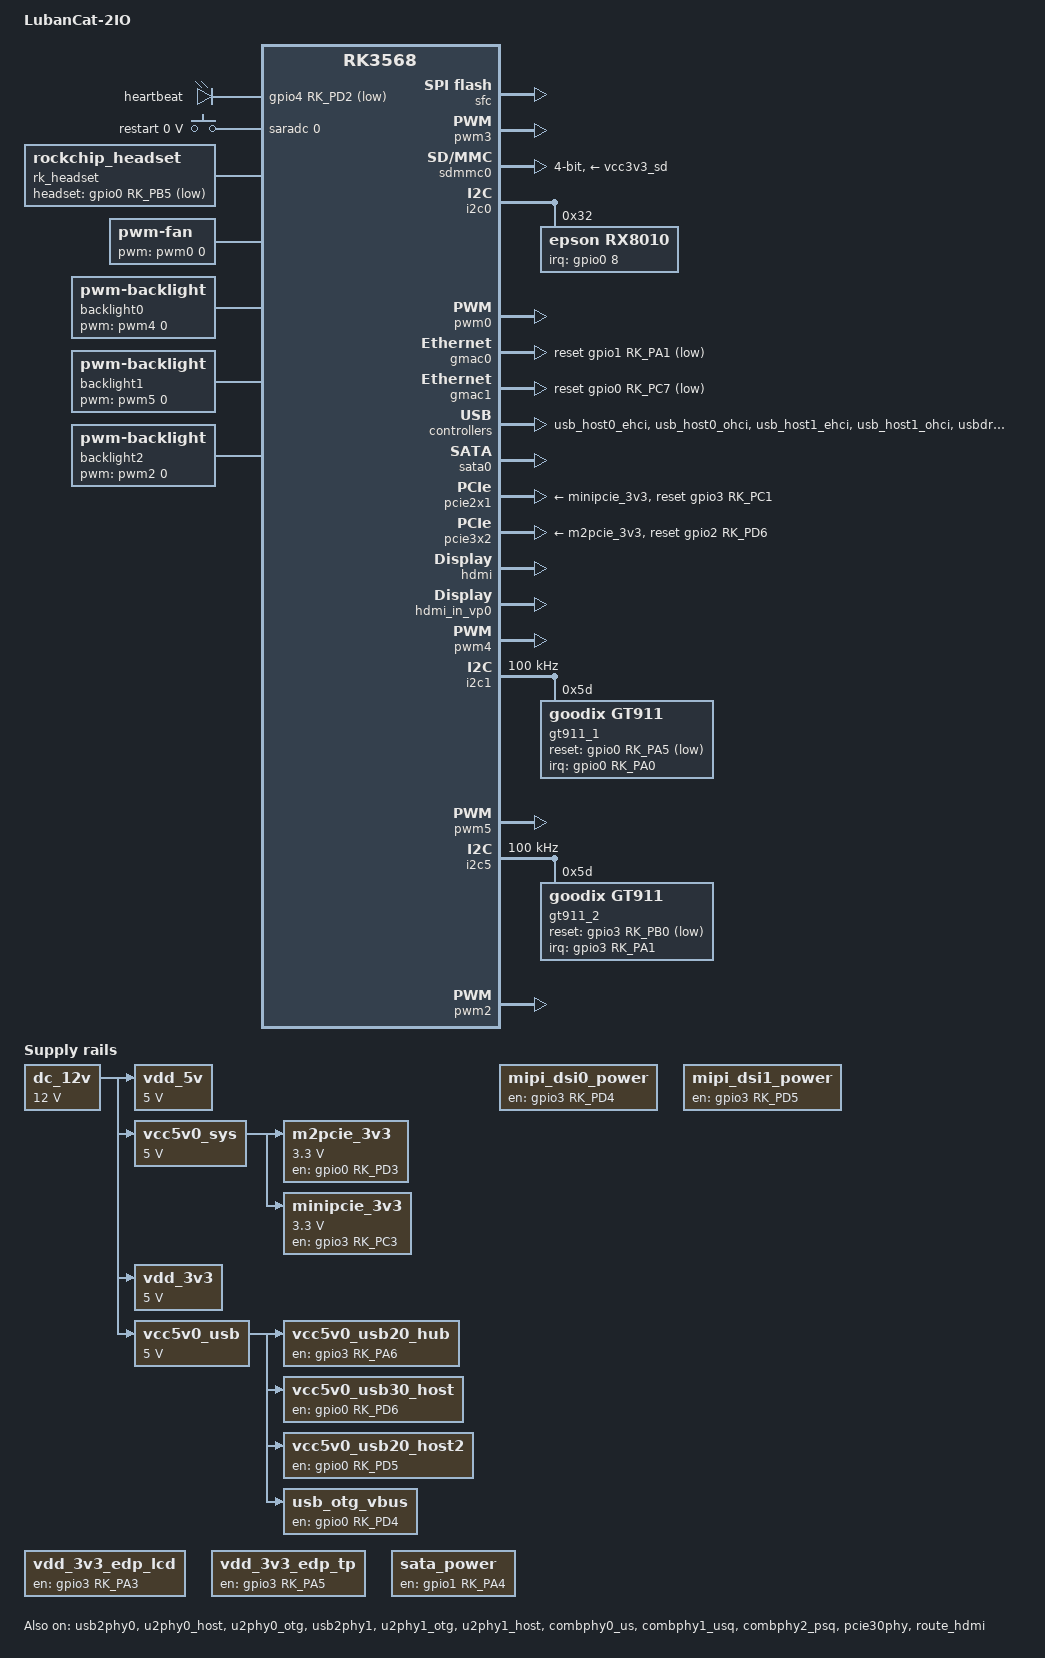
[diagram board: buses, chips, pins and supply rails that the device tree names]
// SPDX-License-Identifier: (GPL-2.0+ OR MIT)
/*
 * Copyright (c) 2020 Rockchip Electronics Co., Ltd.
 * Copyright (c) 2023 EmbedFire Electronic Technology Co., Ltd.
 *
 * LubanCat-2IO development board devicestree
 */

#include "rk3568-lubancat-2m-port.dtsi"
#include "rk3568-lubancat-2io-cam.dtsi"

/ {
	model = "LubanCat-2IO";
	compatible = "rockchip,rk3568-lubancat-2io", "rockchip,rk3568";

	dc_12v: dc-12v {
		compatible = "regulator-fixed";
		regulator-name = "dc_12v";
		regulator-always-on;
		regulator-boot-on;
		regulator-min-microvolt = <12000000>;
		regulator-max-microvolt = <12000000>;
	};

	vdd_5v: vdd-5v {
		compatible = "regulator-fixed";
		regulator-name = "vdd_5v";
		regulator-always-on;
		regulator-boot-on;
		regulator-min-microvolt = <5000000>;
		regulator-max-microvolt = <5000000>;
		vin-supply = <&dc_12v>;
	};

	vcc5v0_sys: vcc5v0-sys {
		compatible = "regulator-fixed";
		regulator-name = "vcc5v0_sys";
		regulator-always-on;
		regulator-boot-on;
		regulator-min-microvolt = <5000000>;
		regulator-max-microvolt = <5000000>;
		vin-supply = <&dc_12v>;
	};

	vdd_3v3: vdd-3v3 {
		compatible = "regulator-fixed";
		regulator-name = "vdd_3v3";
		regulator-always-on;
		regulator-boot-on;
		regulator-min-microvolt = <5000000>;
		regulator-max-microvolt = <5000000>;
		vin-supply = <&dc_12v>;
	};

	vcc5v0_usb: vcc5v0-usb {
		compatible = "regulator-fixed";
		regulator-name = "vcc5v0_usb";
		regulator-always-on;
		regulator-boot-on;
		regulator-min-microvolt = <5000000>;
		regulator-max-microvolt = <5000000>;
		vin-supply = <&dc_12v>;
	};

	mipi_dsi0_power: mipi-dsi0-power-regulator {
		compatible = "regulator-fixed";
		enable-active-high;
		gpio = <&gpio3 RK_PD4 GPIO_ACTIVE_HIGH>;
		pinctrl-names = "default";
		pinctrl-0 = <&mipi_dsi0_pwr_en>;
		regulator-name = "mipi_dsi0_power";
		regulator-always-on;
	};

	mipi_dsi1_power: mipi-dsi1-power-regulator {
		compatible = "regulator-fixed";
		enable-active-high;
		gpio = <&gpio3 RK_PD5 GPIO_ACTIVE_HIGH>;
		pinctrl-names = "default";
		pinctrl-0 = <&mipi_dsi1_pwr_en>;
		regulator-name = "mipi_dsi1_power";
		regulator-always-on;
	};

	vcc5v0_usb20_hub: vcc5v0-usb20-hub-regulator {
		compatible = "regulator-fixed";
		enable-active-high;
		gpio = <&gpio3 RK_PA6 GPIO_ACTIVE_HIGH>;
		pinctrl-names = "default";
		pinctrl-0 = <&usb20_hub_pwr_en>;
		regulator-name = "vcc5v0_usb20_hub";
		regulator-always-on;
		vin-supply = <&vcc5v0_usb>;
	};

	vcc5v0_usb30_host: vcc5v0-usb30-host-regulator {
		compatible = "regulator-fixed";
		enable-active-high;
		gpio = <&gpio0 RK_PD6 GPIO_ACTIVE_HIGH>;
		pinctrl-names = "default";
		pinctrl-0 = <&usb30_host1_pwr_en>;
		regulator-name = "vcc5v0_usb30_host";
		regulator-always-on;
		vin-supply = <&vcc5v0_usb>;
	};

	vcc5v0_usb20_host2: vcc5v0-usb20-host-regulator {
		compatible = "regulator-fixed";
		enable-active-high;
		gpio = <&gpio0 RK_PD5 GPIO_ACTIVE_HIGH>;
		pinctrl-names = "default";
		pinctrl-0 = <&usb20_host2_pwr_en>;
		regulator-name = "vcc5v0_usb20_host2";
		regulator-always-on;
		vin-supply = <&vcc5v0_usb>;
	};

	usb_otg_vbus: usb-otg-vbus-regulator {
		compatible = "regulator-fixed";
		enable-active-high;
		gpio = <&gpio0 RK_PD4 GPIO_ACTIVE_HIGH>;
		pinctrl-names = "default";
		pinctrl-0 = <&usb_otg_vbus_en>;
		regulator-name = "vcc5v0_otg";
		vin-supply = <&vcc5v0_usb>;
	};

	vdd_3v3_edp_lcd: vdd-3v3-edp-lcd-regulator {
		compatible = "regulator-fixed";
		enable-active-high;
		gpio = <&gpio3 RK_PA3 GPIO_ACTIVE_HIGH>;
		pinctrl-names = "default";
		pinctrl-0 = <&edp_lcd_pwr_en>;
		regulator-name = "vdd_3v3_edp_lcd";
		regulator-always-on;
	};

	vdd_3v3_edp_tp: vdd-3v3-edp-tp-regulator {
		compatible = "regulator-fixed";
		enable-active-high;
		gpio = <&gpio3 RK_PA5 GPIO_ACTIVE_HIGH>;
		pinctrl-names = "default";
		pinctrl-0 = <&edp_tp_pwr_en>;
		regulator-name = "vdd_3v3_edp_tp";
		regulator-always-on;
	};

	sata_power: sata-power-regulator {
		compatible = "regulator-fixed";
		gpio = <&gpio1 RK_PA4 GPIO_ACTIVE_HIGH>;
		enable-active-high;
		regulator-boot-on;
		pinctrl-names = "default";
		pinctrl-0 = <&sata_pwr_en>;
		regulator-name = "sata_power";
	};

	m2pcie_3v3: m2pcie-3v3-regulator {
		compatible = "regulator-fixed";
		regulator-name = "minipcie_3v3";
		regulator-min-microvolt = <3300000>;
		regulator-max-microvolt = <3300000>;
		enable-active-high;
		regulator-always-on;
		gpio = <&gpio0 RK_PD3 GPIO_ACTIVE_HIGH>;
		startup-delay-us = <5000>;
		vin-supply = <&vcc5v0_sys>;
	};

	minipcie_3v3: minipcie-3v3-regulator {
		compatible = "regulator-fixed";
		regulator-name = "minipcie_3v3";
		regulator-min-microvolt = <3300000>;
		regulator-max-microvolt = <3300000>;
		enable-active-high;
		regulator-always-on;
		gpio = <&gpio3 RK_PC3 GPIO_ACTIVE_HIGH>;
		startup-delay-us = <5000>;
		vin-supply = <&vcc5v0_sys>;
	};

	leds: leds {
		status = "okay";
		compatible = "gpio-leds";

		led0: led0 {
			label = "heartbeat";
			linux,default-trigger = "heartbeat";
			default-state = "on";
			gpios = <&gpio4 RK_PD2 GPIO_ACTIVE_LOW>;
			pinctrl-names = "default";
			pinctrl-0 = <&led0_pin>;
		};
	};

	adc_keys: adc-keys {
		compatible = "adc-keys";
		io-channels = <&saradc 0>;
		io-channel-names = "buttons";
		keyup-threshold-microvolt = <1800000>;
		poll-interval = <100>;

		restart-key {
			label = "restart";
			linux,code = <KEY_RESTART>;
			press-threshold-microvolt = <9>;
		};
	};

	rk_headset: rk-headset {
		status = "okay";
		compatible = "rockchip_headset";
		headset_gpio = <&gpio0 RK_PB5 GPIO_ACTIVE_LOW>;
		pinctrl-names = "default";
		pinctrl-0 = <&hp_det>;
	};

	fan: pwm-fan {
		compatible = "pwm-fan";
		#cooling-cells = <2>;
		pwms = <&pwm0 0 500000 0>;
		cooling-levels = <0 100 150 200 255>;
		rockchip,temp-trips = <
			50000	1
			55000	2
			60000	3
			65000	4
		>;
	};

	backlight0: backlight0 {
		status = "okay";
		compatible = "pwm-backlight";
		pwms = <&pwm4 0 50000 0>;
		brightness-levels = <
			 95  95  95  95  95  95  95  95
			 95  95  95  95  95  95  95  95
			 95  95  95  95  95  95  95  95
			 95  95  95  95  95  95  95  95
			 95  95  95  95  95  95  95  95
			 95  95  95  95  95  95  95  95
			 95  95  95  95  95  95  95  95
			 95  95  95  95  95  95  95  95
			 95  95  95  95  95  95  95  95
			 95  95  95  95  95  95  95  95
			 95  95  95  95  95  95  95  95
			 88  89  90  91  92  93  94  95
			 96  97  98  99 100 101 102 103
			104 105 106 107 108 109 110 111
			112 113 114 115 116 117 118 119
			120 121 122 123 124 125 126 127
			128 129 130 131 132 133 134 135
			136 137 138 139 140 141 142 143
			144 145 146 147 148 149 150 151
			152 153 154 155 156 157 158 159
			160 161 162 163 164 165 166 167
			168 169 170 171 172 173 174 175
			176 177 178 179 180 181 182 183
			184 185 186 187 188 189 190 191
			192 193 194 195 196 197 198 199
			200 201 202 203 204 205 206 207
			208 209 210 211 212 213 214 215
			216 217 218 219 220 221 222 223
			224 225 226 227 228 229 230 231
			232 233 234 235 236 237 238 239
			240 241 242 243 244 245 246 247
			248 249 250 251 252 253 254 255
		>;
		default-brightness-level = <200>;
	};

	backlight1: backlight1 {
		status = "okay";
		compatible = "pwm-backlight";
		pwms = <&pwm5 0 50000 0>;
		brightness-levels = <
			95  95  95  95  95  95  95  95
			95  95  95  95  95  95  95  95
			95  95  95  95  95  95  95  95
			95  95  95  95  95  95  95  95
			95  95  95  95  95  95  95  95
			95  95  95  95  95  95  95  95
			95  95  95  95  95  95  95  95
			95  95  95  95  95  95  95  95
			95  95  95  95  95  95  95  95
			95  95  95  95  95  95  95  95
			95  95  95  95  95  95  95  95
			88  89  90  91  92  93  94  95
			96  97  98  99  100 101 102 103
			104 105 106 107 108 109 110 111
			112 113 114 115 116 117 118 119
			120 121 122 123 124 125 126 127
			128 129 130 131 132 133 134 135
			136 137 138 139 140 141 142 143
			144 145 146 147 148 149 150 151
			152 153 154 155 156 157 158 159
			160 161 162 163 164 165 166 167
			168 169 170 171 172 173 174 175
			176 177 178 179 180 181 182 183
			184 185 186 187 188 189 190 191
			192 193 194 195 196 197 198 199
			200 201 202 203 204 205 206 207
			208 209 210 211 212 213 214 215
			216 217 218 219 220 221 222 223
			224 225 226 227 228 229 230 231
			232 233 234 235 236 237 238 239
			240 241 242 243 244 245 246 247
			248 249 250 251 252 253 254 255
		>;
		default-brightness-level = <200>;
	};

	backlight2: backlight2 {
		status = "okay";
		compatible = "pwm-backlight";
		pwms = <&pwm2 0 500000 0>; //2khz
		brightness-levels = <
			0   1   2   3   4   5   6   7
			8   9   10  11  12  13  14  15
			16  17  18  19  20  21  22  23
			24  25  26  27  28  29  30  31
			32  33  34  35  36  37  38  39
			40  41  42  43  44  45  46  47
			48  49  50  51  52  53  54  55
			56  57  58  59  60  61  62  63
			64  65  66  67  68  69  70  71
			72  73  74  75  76  77  78  79
			80  81  82  83  84  85  86  87
			88  89  90  91  92  93  94  95
			96  97  98  99  100 101 102 103
			104 105 106 107 108 109 110 111
			112 113 114 115 116 117 118 119
			120 121 122 123 124 125 126 127
			128 129 130 131 132 133 134 135
			136 137 138 139 140 141 142 143
			144 145 146 147 148 149 150 151
			152 153 154 155 156 157 158 159
			160 161 162 163 164 165 166 167
			168 169 170 171 172 173 174 175
			176 177 178 179 180 181 182 183
			184 185 186 187 188 189 190 191
			192 193 194 195 196 197 198 199
			200 201 202 203 204 205 206 207
			208 209 210 211 212 213 214 215
			216 217 218 219 220 221 222 223
			224 225 226 227 228 229 230 231
			232 233 234 235 236 237 238 239
			240 241 242 243 244 245 246 247
			248 249 250 251 252 253 254 255>;
		default-brightness-level = <200>;
	};

	edp_panel: edp-panel {
		compatible = "simple-panel";
		backlight = <&backlight2>;
		status = "disabled";
		power-supply = <&vdd_3v3_edp_lcd>;
		enable-gpios = <&gpio2 RK_PD7 GPIO_ACTIVE_HIGH>;
		//bus-format = <MEDIA_BUS_FMT_RBG888_1X24>;
		prepare-delay-ms = <100>; //AUX通信前延时
		enable-delay-ms = <100>;

		display-timings {
			native-mode = <&timing0>;

			timing0: timing0 {
				clock-frequency = <140000000>;
				hactive = <1920>;
				vactive = <1080>;
				hfront-porch = <40>;
				hsync-len = <40>;
				hback-porch = <80>;
				vfront-porch = <16>;
				vsync-len = <8>;
				vback-porch = <16>;
				hsync-active = <0>;
				vsync-active = <0>;
				de-active = <0>;
				pixelclk-active = <0>;
			};
		};

		ports {
			panel_in_edp: endpoint {
				remote-endpoint = <&edp_out_panel>;
			};
		};
	};
};

&sfc{
	status = "okay";
};

&pwm3 {
	status = "okay";

	compatible = "rockchip,remotectl-pwm";
	interrupts = <GIC_SPI 82 IRQ_TYPE_LEVEL_HIGH>;
	remote_pwm_id = <3>;
	handle_cpu_id = <1>;
	remote_support_psci = <0>;
	pinctrl-names = "default";
	pinctrl-0 = <&pwm3_pins>;

	ir_key_lubancat{
		rockchip,usercode = <0x909>;
		rockchip,key_table =
			<0xf4   KEY_POWER>,
			<0xe6   KEY_SLEEP>,
			<0xe4   KEY_WAKEUP>,
			<0xed   KEY_VOLUMEUP>,
			<0xec   KEY_VOLUMEDOWN>,
			<0xef   KEY_UP>,
			<0xee   KEY_DOWN>;
	};

	ir_key1 {
		rockchip,usercode = <0x4040>;
		rockchip,key_table =
			<0xf2	KEY_REPLY>,
			<0xba	KEY_BACK>,
			<0xf4	KEY_UP>,
			<0xf1	KEY_DOWN>,
			<0xef	KEY_LEFT>,
			<0xee	KEY_RIGHT>,
			<0xbd	KEY_HOME>,
			<0xea	KEY_VOLUMEUP>,
			<0xe3	KEY_VOLUMEDOWN>,
			<0xe2	KEY_SEARCH>,
			<0xb2	KEY_POWER>,
			<0xbc	KEY_MUTE>,
			<0xec	KEY_MENU>,
			<0xbf	0x190>,
			<0xe0	0x191>,
			<0xe1	0x192>,
			<0xe9	183>,
			<0xe6	248>,
			<0xe8	185>,
			<0xe7	186>,
			<0xf0	388>,
			<0xbe	0x175>;
	};

	ir_key2 {
		rockchip,usercode = <0xff00>;
		rockchip,key_table =
			<0xf9	KEY_HOME>,
			<0xbf	KEY_BACK>,
			<0xfb	KEY_MENU>,
			<0xaa	KEY_REPLY>,
			<0xb9	KEY_UP>,
			<0xe9	KEY_DOWN>,
			<0xb8	KEY_LEFT>,
			<0xea	KEY_RIGHT>,
			<0xeb	KEY_VOLUMEDOWN>,
			<0xef	KEY_VOLUMEUP>,
			<0xf7	KEY_MUTE>,
			<0xe7	KEY_POWER>,
			<0xfc	KEY_POWER>,
			<0xa9	KEY_VOLUMEDOWN>,
			<0xa8	KEY_VOLUMEDOWN>,
			<0xe0	KEY_VOLUMEDOWN>,
			<0xa5	KEY_VOLUMEDOWN>,
			<0xab	183>,
			<0xb7	388>,
			<0xe8	388>,
			<0xf8	184>,
			<0xaf	185>,
			<0xed	KEY_VOLUMEDOWN>,
			<0xee	186>,
			<0xb3	KEY_VOLUMEDOWN>,
			<0xf1	KEY_VOLUMEDOWN>,
			<0xf2	KEY_VOLUMEDOWN>,
			<0xf3	KEY_SEARCH>,
			<0xb4	KEY_VOLUMEDOWN>,
			<0xbe	KEY_SEARCH>;
	};

	ir_key3 {
		rockchip,usercode = <0x1dcc>;
		rockchip,key_table =
			<0xee	KEY_REPLY>,
			<0xf0	KEY_BACK>,
			<0xf8	KEY_UP>,
			<0xbb	KEY_DOWN>,
			<0xef	KEY_LEFT>,
			<0xed	KEY_RIGHT>,
			<0xfc	KEY_HOME>,
			<0xf1	KEY_VOLUMEUP>,
			<0xfd	KEY_VOLUMEDOWN>,
			<0xb7	KEY_SEARCH>,
			<0xff	KEY_POWER>,
			<0xf3	KEY_MUTE>,
			<0xbf	KEY_MENU>,
			<0xf9	0x191>,
			<0xf5	0x192>,
			<0xb3	388>,
			<0xbe	KEY_1>,
			<0xba	KEY_2>,
			<0xb2	KEY_3>,
			<0xbd	KEY_4>,
			<0xf9	KEY_5>,
			<0xb1	KEY_6>,
			<0xfc	KEY_7>,
			<0xf8	KEY_8>,
			<0xb0	KEY_9>,
			<0xb6	KEY_0>,
			<0xb5	KEY_BACKSPACE>;
	};
};

&sdmmc0 {
	max-frequency = <150000000>;
	supports-sd;
	bus-width = <4>;
	cap-mmc-highspeed;
	cap-sd-highspeed;
	disable-wp;
	sd-uhs-sdr104;
	vmmc-supply = <&vcc3v3_sd>;
	status = "okay";
};

&xin32k {
	status = "disabled"; //use for RX8010_nIRQ1
};

&rk809 {
	rtc {
		status = "disabled"; //use rx8010
	};
};

&i2c0 {
	rx8010: rx8010@32 {
		compatible = "epson,rx8010";
		reg = <0x32>;
		pinctrl-0 = <&rx8010_irq>;
		interrupt-parent = <&gpio0>;
		interrupts = <8 IRQ_TYPE_LEVEL_LOW>;
		status = "okay";
	};
};

&can1 {
	status = "disabled"; //Default to use DTBO
};

&uart3 {
	status = "disabled"; //Default to use DTBO
};

&uart4 {
	status = "disabled"; //Default to use DTBO
};

&uart7 {
	status = "disabled"; //Default to use DTBO
};

&uart9 {
	status = "disabled"; //Default to use DTBO
};

&pwm0 {
	status = "okay";
};

&rk809_codec {
	hp-ctl-gpios = <&gpio0 RK_PB5 GPIO_ACTIVE_HIGH>;
};

&gmac0 {
	snps,reset-gpio = <&gpio1 RK_PA1 GPIO_ACTIVE_LOW>;
	tx_delay = <0x1c>;
	rx_delay = <0x0d>;
	status = "okay";
};

&gmac1 {
	snps,reset-gpio = <&gpio0 RK_PC7 GPIO_ACTIVE_LOW>;
	tx_delay = <0x20>;
	rx_delay = <0x00>;
	status = "okay";
};

/* USB OTG/USB Host_1 USB 2.0 Comb */
&usb2phy0 {
	status = "okay";
};

&u2phy0_host {
	status = "okay";
	phy-supply = <&vcc5v0_usb30_host>;
};

&u2phy0_otg {
	status = "okay";
	vbus-supply = <&usb_otg_vbus>;
};

&usb_host0_ehci {
	status = "okay";
};

&usb_host0_ohci {
	status = "okay";
};

/* USB Host_2/USB Host_3 USB 2.0 Comb */
&usb2phy1 {
	status = "okay";
};

&u2phy1_otg {
	status = "okay";
	phy-supply = <&vcc5v0_usb20_host2>;
};

&u2phy1_host {
	status = "okay";
	phy-supply = <&vcc5v0_usb20_host2>;
};

&usb_host1_ehci {
	status = "okay";
};

&usb_host1_ohci {
	status = "okay";
};

/* MULTI_PHY0 For SATA0, USB3.0 OTG0 Only USB2.0 */
&combphy0_us {
	status = "okay";
};

&usbdrd30 {
	status = "okay";
};

&usbdrd_dwc3 {
	status = "okay";
};

&sata0 {
	target-supply = <&sata_power>;
	status = "okay";
};

/* MULTI_PHY1 For USB3.0 HOST1 */
&combphy1_usq {
	status = "okay";
};

&usbhost30 {
	status = "okay";
};

&usbhost_dwc3 {
	status = "okay";
};

/* MULTI_PHY2 For PCIe2.0 */
&combphy2_psq {
	status = "okay";
};

/* Mini PCIe */
&pcie2x1 {
	reset-gpios = <&gpio3 RK_PC1 GPIO_ACTIVE_HIGH>;
	disable-gpios = <&gpio3 RK_PC2 GPIO_ACTIVE_HIGH>;
	vpcie3v3-supply = <&minipcie_3v3>;
	status = "okay";
};

/* PCIe3.0x2 Comb */
&pcie30phy {
	status = "okay";
};

/* M.2 M-key PCIe */
&pcie3x2 {
	reset-gpios = <&gpio2 RK_PD6 GPIO_ACTIVE_HIGH>;
	vpcie3v3-supply = <&m2pcie_3v3>;
	status = "okay";
};

&route_hdmi {
	status = "okay";
	connect = <&vp0_out_hdmi>;
};

&hdmi {
	status = "okay";
};

&hdmi_in_vp0 {
	status = "okay";
};

&hdmi_in_vp1 {
	status = "disabled";
};

&dsi0 {
	status = "disable";
	power-supply = <&mipi_dsi0_power>;
	dsi0_panel:panel@0 {
		compatible = "simple-panel-dsi";
		reg = <0>;
		backlight = <&backlight0>;
		reset-gpios = <&gpio0 RK_PC0 GPIO_ACTIVE_LOW>;

		enable-delay-ms = <35>;
		prepare-delay-ms = <6>;
		reset-delay-ms = <0>;
		init-delay-ms = <20>;
		unprepare-delay-ms = <0>;
		disable-delay-ms = <20>;

		size,width = <74>;
		size,height = <133>;

		dsi,flags = <(MIPI_DSI_MODE_VIDEO | MIPI_DSI_MODE_VIDEO_BURST | MIPI_DSI_MODE_LPM | MIPI_DSI_MODE_EOT_PACKET)>;
		dsi,format = <MIPI_DSI_FMT_RGB888>;
		dsi,lanes  = <4>;

		panel-init-sequence = [
			39 00 04 B9 FF 83 99
			15 00 02 D2 77
			39 00 10 B1 02 04 74 94 01 32 33 11 11 AB 4D 56 73 02 02
			39 00 10 B2 00 80 80 AE 05 07 5A 11 00 00 10 1E 70 03 D4
			15 00 02 36 02
			39 00 2D B4 00 FF 02 C0 02 C0 00 00 08 00 04 06 00 32 04 0A 08 21 03 01 00 0F B8 8B 02 C0 02 C0 00 00 08 00 04 06 00 32 04 0A 08 01 00 0F B8 01
			39 05 22 D3 00 00 00 00 00 00 06 00 00 10 04 00 04 00 00 00 00 00 00 00 00 00 00 01 00 05 05 07 00 00 00 05 40
			39 05 21 D5 18 18 19 19 18 18 21 20 01 00 07 06 05 04 03 02 18 18 18 18 18 18 2F 2F 30 30 31 31 18 18 18 18
			39 05 21 D6 18 18 19 19 40 40 20 21 06 07 00 01 02 03 04 05 40 40 40 40 40 40 2F 2F 30 30 31 31 40 40 40 40
			39 00 11 D8 A2 AA 02 A0 A2 A8 02 A0 B0 00 00 00 B0 00 00 00
			15 00 02 BD 01
			39 00 11 D8 B0 00 00 00 B0 00 00 00 E2 AA 03 F0 E2 AA 03 F0
			15 00 02 BD 02
			39 00 09 D8 E2 AA 03 F0 E2 AA 03 F0
			15 00 02 BD 00
			39 00 03 B6 8D 8D
			39 05 37 E0 00 0E 19 13 2E 39 48 44 4D 57 5F 66 6C 76 7F 85 8A 95 9A A4 9B AB B0 5C 58 64 77 00 0E 19 13 2E 39 48 44 4D 57 5F 66 6C 76 7F 85 8A 95 9A A4 9B AB B0 5C 58 64 77
			05 C8 01 11
			05 C8 01 29
		];

		panel-exit-sequence = [
			05 78 01 28
			05 00 01 10
		];

		disp_timing: display-timings {
			native-mode = <&dsi0_timing>;
			dsi0_timing: dsi0_timing {
				clock-frequency = <131376000>;
				hactive = <1080>;
				vactive = <1920>;
				hsync-len = <10>;
				hback-porch = <20>;
				hfront-porch = <10>;
				vsync-len = <5>;
				vback-porch = <20>;
				vfront-porch = <10>;
				hsync-active = <0>;
				vsync-active = <0>;
				de-active = <0>;
				pixelclk-active = <0>;
			};
		};
		ports {
			#address-cells = <1>;
			#size-cells = <0>;
			port@0 {
					reg = <0>;
					panel_in_dsi: endpoint {
					remote-endpoint = <&dsi_out_panel>;
				};
			};
		};
	};

	ports {
		#address-cells = <1>;
		#size-cells = <0>;

		port@1 {
			reg = <1>;
			dsi_out_panel: endpoint {
				remote-endpoint = <&panel_in_dsi>;
			};
		};
    };
};

&pwm4 {
	status = "okay";
};

&i2c1 {
	status = "okay";
	clock-frequency = <100000>;

	gt911_1: gt911_1@5d {
		status = "okay";
		compatible = "goodix,gt911";
		reg = <0x5d>;
		interrupt-parent = <&gpio0>;
		interrupts = <RK_PA0 IRQ_TYPE_LEVEL_LOW>;
		reset-gpios = <&gpio0 RK_PA5 GPIO_ACTIVE_LOW>;
		irq-gpios = <&gpio0 RK_PA0 GPIO_ACTIVE_HIGH>;
		touchscreen-inverted-x = <1>;
		touchscreen-inverted-y = <1>;
	};
};

&dsi1 {
	status = "disable";
	power-supply = <&mipi_dsi1_power>;
	panel@0 {
		status = "okay";
		compatible = "simple-panel-dsi";
		reg = <0>;
		backlight = <&backlight1>;
		reset-gpios = <&gpio3 RK_PB6 GPIO_ACTIVE_LOW>;

		enable-delay-ms = <35>;
		prepare-delay-ms = <6>;
		reset-delay-ms = <0>;
		init-delay-ms = <20>;
		unprepare-delay-ms = <0>;
		disable-delay-ms = <20>;

		size,width = <74>;
		size,height = <133>;

		dsi,flags = <(MIPI_DSI_MODE_VIDEO | MIPI_DSI_MODE_VIDEO_BURST | MIPI_DSI_MODE_LPM | MIPI_DSI_MODE_EOT_PACKET)>;
		dsi,format = <MIPI_DSI_FMT_RGB888>;
		dsi,lanes  = <4>;

		panel-init-sequence = [
			39 00 04 B9 FF 83 99
			15 00 02 D2 77
			39 00 10 B1 02 04 74 94 01 32 33 11 11 AB 4D 56 73 02 02
			39 00 10 B2 00 80 80 AE 05 07 5A 11 00 00 10 1E 70 03 D4
			15 00 02 36 02
			39 00 2D B4 00 FF 02 C0 02 C0 00 00 08 00 04 06 00 32 04 0A 08 21 03 01 00 0F B8 8B 02 C0 02 C0 00 00 08 00 04 06 00 32 04 0A 08 01 00 0F B8 01
			39 05 22 D3 00 00 00 00 00 00 06 00 00 10 04 00 04 00 00 00 00 00 00 00 00 00 00 01 00 05 05 07 00 00 00 05 40
			39 05 21 D5 18 18 19 19 18 18 21 20 01 00 07 06 05 04 03 02 18 18 18 18 18 18 2F 2F 30 30 31 31 18 18 18 18
			39 05 21 D6 18 18 19 19 40 40 20 21 06 07 00 01 02 03 04 05 40 40 40 40 40 40 2F 2F 30 30 31 31 40 40 40 40
			39 00 11 D8 A2 AA 02 A0 A2 A8 02 A0 B0 00 00 00 B0 00 00 00
			15 00 02 BD 01
			39 00 11 D8 B0 00 00 00 B0 00 00 00 E2 AA 03 F0 E2 AA 03 F0
			15 00 02 BD 02
			39 00 09 D8 E2 AA 03 F0 E2 AA 03 F0
			15 00 02 BD 00
			39 00 03 B6 8D 8D
			39 05 37 E0 00 0E 19 13 2E 39 48 44 4D 57 5F 66 6C 76 7F 85 8A 95 9A A4 9B AB B0 5C 58 64 77 00 0E 19 13 2E 39 48 44 4D 57 5F 66 6C 76 7F 85 8A 95 9A A4 9B AB B0 5C 58 64 77
			05 C8 01 11
			05 C8 01 29
		];

		panel-exit-sequence = [
			05 78 01 28
			05 00 01 10
		];

		disp_timings: display-timings {
			native-mode = <&dsi1_timing>;
			dsi1_timing: timing {
				clock-frequency = <131376000>;
				hactive = <1080>;
				vactive = <1920>;
				hsync-len = <10>;
				hback-porch = <20>;
				hfront-porch = <10>;
				vsync-len = <5>;
				vback-porch = <20>;
				vfront-porch = <10>;
				hsync-active = <0>;
				vsync-active = <0>;
				de-active = <0>;
				pixelclk-active = <0>;
			};
		};

		ports {
			#address-cells = <1>;
			#size-cells = <0>;
			port@0 {
				reg = <0>;
				panel_in_dsi1: endpoint {
					remote-endpoint = <&dsi1_out_panel>;
				};
			};
		};
	};

	ports {
		#address-cells = <1>;
		#size-cells = <0>;

		port@1 {
			reg = <1>;
			dsi1_out_panel: endpoint {
				remote-endpoint = <&panel_in_dsi1>;
			};
		};
   };
};

&pwm5 {
	status = "okay";
};

&i2c5 {
	status = "okay";
	clock-frequency = <100000>;

	gt911_2: gt911_2@5d {
		status = "okay";
		compatible = "goodix,gt911";
		reg = <0x5d>;
		interrupt-parent = <&gpio3>;
		interrupts = <RK_PA1 IRQ_TYPE_LEVEL_LOW>;
		reset-gpios = <&gpio3 RK_PB0 GPIO_ACTIVE_LOW>;
		irq-gpios = <&gpio3 RK_PA1 GPIO_ACTIVE_HIGH>;
		touchscreen-inverted-x = <1>;
		touchscreen-inverted-y = <1>;
	};
};

&edp {
	status = "disabled";
	// hpd-gpios = <&gpio0 RK_PC2 GPIO_ACTIVE_HIGH>; //热插拔信号检测
	force-hpd; //强制hpd，忽略物理hdp信号

	ports {
		edp_out: port@1 {
			reg = <1>;
			#address-cells = <1>;
			#size-cells = <0>;

			edp_out_panel: endpoint@0 {
				reg = <0>;
				remote-endpoint = <&panel_in_edp>;
			};
		};
	};
};

&pwm2 {
	status = "okay";
};

&i2c1 {
	status = "okay";
	clock-frequency = <100000>;

	rockpi_mcu: rockpi-mcu@45 {
		compatible = "rockpi_mcu";
		reg = <0x45>;
		status = "disable";
	};

	rockpi_ft5406: rockpi_ft5406@38 {
		compatible = "rockpi_ft5406";
		reg = <0x38>;
		status = "disable";
	};
};

&pinctrl {
	headphone {
		hp_det: hp-det {
			rockchip,pins = <0 RK_PB5 RK_FUNC_GPIO &pcfg_pull_down>;
		};
	};

	leds {
		led0_pin: led0-pin {
			rockchip,pins = <4 RK_PD2 RK_FUNC_GPIO &pcfg_pull_none>;
		};
	};

	lcd {
		edp_lcd_pwr_en: edp-lcd-pwr-en {
			rockchip,pins = <3 RK_PA3 RK_FUNC_GPIO &pcfg_pull_none>;
		};

		edp_tp_pwr_en: edp-tp-pwr-en {
			rockchip,pins = <3 RK_PA5 RK_FUNC_GPIO &pcfg_pull_none>;
		};

		mipi_dsi0_pwr_en: mipi-dsi0-pwr-en {
			rockchip,pins = <3 RK_PD4 RK_FUNC_GPIO &pcfg_pull_none>;
		};

		mipi_dsi1_pwr_en: mipi-dsi1-pwr-en {
			rockchip,pins = <3 RK_PD5 RK_FUNC_GPIO &pcfg_pull_none>;
		};
	};

	rx8010 {
		rx8010_irq: rx8010-irq {
				rockchip,pins = <0 RK_PB2 RK_FUNC_GPIO &pcfg_pull_none>;
		};
	};

	sata {
		sata_pwr_en: sata-pwr-en {
			rockchip,pins = <1 RK_PA4 RK_FUNC_GPIO &pcfg_pull_none>;
		};
	};

	usb {
		usb20_hub_pwr_en: usb20-hub-pwr-en {
			rockchip,pins = <3 RK_PA6 RK_FUNC_GPIO &pcfg_pull_none>;
		};

		usb30_host1_pwr_en: usb30-host1-pwr-en {
			rockchip,pins =	<0 RK_PD6 RK_FUNC_GPIO &pcfg_pull_none>;
		};

		usb20_host2_pwr_en: usb20-host2-pwr-en {
			rockchip,pins = <0 RK_PD5 RK_FUNC_GPIO &pcfg_pull_none>;
		};

		usb_otg_vbus_en: usb-otg-vbus-en {
			rockchip,pins = <0 RK_PD4 RK_FUNC_GPIO &pcfg_pull_none>;
		};
	};
};
